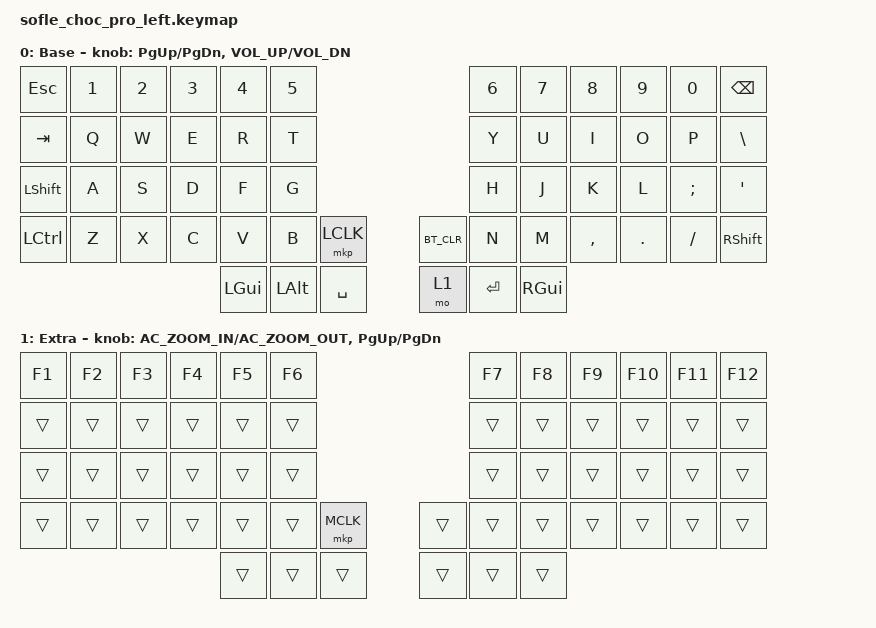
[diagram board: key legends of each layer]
#include <behaviors.dtsi>
#include <dt-bindings/zmk/keys.h>
#include <dt-bindings/zmk/bt.h>
#include <dt-bindings/zmk/rgb.h>
#include <dt-bindings/zmk/outputs.h>
#include <dt-bindings/zmk/mouse.h>

/ {
    keymap {
        compatible = "zmk,keymap";

        default_layer {
            display-name = "Base";
            bindings = <
&kp ESC     &kp N1 &kp N2 &kp N3 &kp N4 &kp N5                          &kp N6 &kp N7 &kp N8    &kp N9  &kp N0    &kp BSPC
&kp TAB     &kp Q  &kp W  &kp E  &kp R  &kp T                           &kp Y  &kp U  &kp I     &kp O   &kp P     &kp BSLH
&kp LSHFT   &kp A  &kp S  &kp D  &kp F  &kp G                           &kp H  &kp J  &kp K     &kp L   &kp SEMI  &kp SQT
&kp LCTRL   &kp Z  &kp X  &kp C  &kp V  &kp B  &mkp LCLK     &kp BT_CLR  &kp N  &kp M  &kp COMMA &kp DOT &kp FSLH  &kp RSHFT
                   &kp LGUI &kp LALT &kp SPACE &mo 1       &kp ENTER  &kp RGUI
            >;

            // Encoder: Links (Scroll) | Rechts (Vol)
            sensor-bindings = <&inc_dec_kp PG_UP PG_DN &inc_dec_kp C_VOL_UP C_VOL_DN>;
        };

        lower_layer {
            display-name = "Extra";
            bindings = <
&kp F1      &kp F2 &kp F3 &kp F4 &kp F5 &kp F6                          &kp F7 &kp F8 &kp F9    &kp F10 &kp F11   &kp F12
&trans      &trans &trans &trans &trans &trans                          &trans &trans &trans    &trans  &trans    &trans
&trans      &trans &trans &trans &trans &trans                          &trans &trans &trans    &trans  &trans    &trans
&trans      &trans &trans &trans &trans &trans &mkp MCLK       &trans   &trans &trans &trans    &trans  &trans    &trans
                   &trans &trans &trans &trans                 &trans   &trans
            >;

            sensor-bindings = <&inc_dec_kp C_AC_ZOOM_IN C_AC_ZOOM_OUT &inc_dec_kp PG_UP PG_DN>;
        };
    };
};
